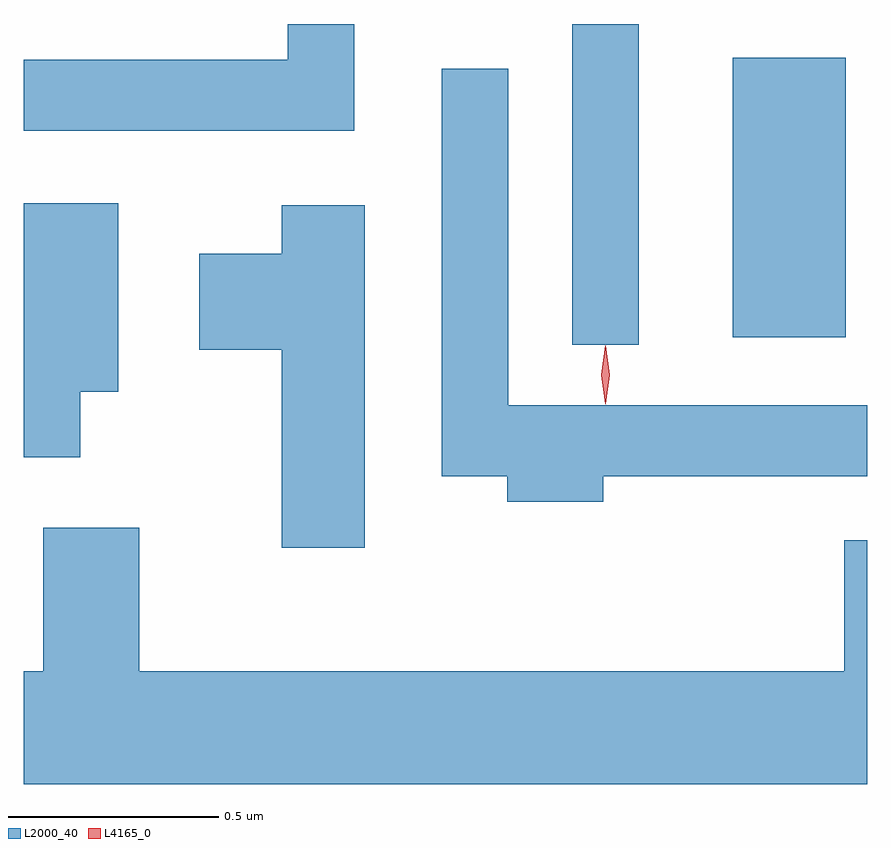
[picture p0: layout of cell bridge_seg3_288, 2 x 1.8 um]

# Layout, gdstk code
import gdstk
lib = gdstk.Library(unit=1e-6, precision=1e-09)
def R(c, l, rs):  # rectangles x0, y0, x1, y1
    for r in rs: c.add(gdstk.rectangle(r[:2], r[2:], *l))
def P(c, l, *ps):  # polygons
    for p in ps: c.add(gdstk.Polygon(p, *l))
L2000_40 = (2000, 40)
L4165_0 = (4165, 0)

bridge_seg3_288 = lib.new_cell('bridge_seg3_288')
R(bridge_seg3_288, L2000_40, [(1020.736,1118.178,1020.894,1118.939), (1021.116,1118.196,1021.384,1118.859)])
P(bridge_seg3_288, L2000_40, [(1020.219,1118.939),(1020.061,1118.939),(1020.061,1118.854),(1019.435,1118.854),(1019.435,1118.686),(1020.219,1118.686)],
  [(1020.809,1117.866),(1021.435,1117.866),(1021.435,1118.034),(1020.584,1118.034),(1020.584,1118.833),(1020.426,1118.833),(1020.426,1117.866),(1020.581,1117.866),(1020.581,1117.806),(1020.809,1117.806)],
  [(1019.569,1118.066),(1019.659,1118.066),(1019.659,1118.514),(1019.435,1118.514),(1019.435,1117.911),(1019.569,1117.911)],
  [(1020.244,1118.509),(1020.046,1118.509),(1020.046,1118.394),(1019.851,1118.394),(1019.851,1118.166),(1020.046,1118.166),(1020.046,1117.696),(1020.244,1117.696)],
  [(1021.435,1117.714),(1021.381,1117.714),(1021.381,1117.404),(1019.709,1117.404),(1019.709,1117.744),(1019.481,1117.744),(1019.481,1117.404),(1019.435,1117.404),(1019.435,1117.136),(1021.435,1117.136)])
P(bridge_seg3_288, L4165_0, [(1020.815,1118.037),(1020.814,1118.038),(1020.805,1118.107),(1020.814,1118.176),(1020.815,1118.176),(1020.815,1118.176),(1020.825,1118.107),(1020.815,1118.038)],
  [(1020.815,1118.039),(1020.814,1118.04),(1020.805,1118.106),(1020.814,1118.172),(1020.815,1118.173),(1020.815,1118.172),(1020.825,1118.106),(1020.815,1118.04)])

lib.write_gds('bridge_seg3_288.gds')
